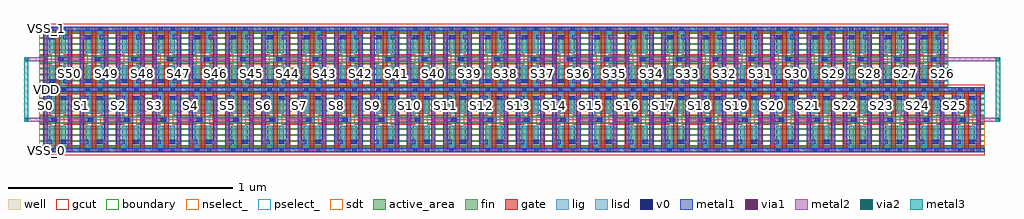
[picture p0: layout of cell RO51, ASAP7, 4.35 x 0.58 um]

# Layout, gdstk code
from math import pi, radians
import gdstk
lib = gdstk.Library(unit=1e-6, precision=2.5e-10)
def R(c, l, rs):  # rectangles x0, y0, x1, y1
    for r in rs: c.add(gdstk.rectangle(r[:2], r[2:], *l))
def A(c, l, x, y, w, h, nx, ny, dx, dy):  # array of equal rectangles
    R(c, l, [(x+i*dx, y+j*dy, x+i*dx+w, y+j*dy+h) for i in range(nx) for j in range(ny)])
def P(c, l, *ps):  # polygons
    for p in ps: c.add(gdstk.Polygon(p, *l))
well = (1, 0)
fin = (2, 0)
gate = (7, 0)
gcut = (10, 0)
active_area = (11, 0)
nselect_ = (12, 0)
pselect_ = (13, 0)
lig = (16, 0)
lisd = (17, 0)
v0 = (18, 0)
metal1 = (19, 0)
metal2 = (20, 0)
via1 = (21, 0)
via2 = (25, 0)
metal3 = (30, 0)
sdt = (88, 0)
boundary = (100, 0)

invx1_asap7_75t_r = lib.new_cell('INVx1_ASAP7_75t_R')
R(invx1_asap7_75t_r, well, [(0,0.135,0.162,0.27)])
A(invx1_asap7_75t_r, fin, 0, 0.01, 0.162, 0.007, 1, 10, 0, 0.027)
A(invx1_asap7_75t_r, gate, 0.017, -0.005, 0.02, 0.2805, 3, 1, 0.054, 0)
R(invx1_asap7_75t_r, gcut, [(0,-0.022,0.162,0.022), (0,0.113,0.054,0.157), (0.108,0.113,0.162,0.157), (0,0.248,0.162,0.292)])
R(invx1_asap7_75t_r, active_area, [(0.046,0.027,0.116,0.108), (0.046,0.162,0.116,0.243)])
R(invx1_asap7_75t_r, nselect_, [(0,0,0.162,0.135)])
R(invx1_asap7_75t_r, pselect_, [(0,0.135,0.162,0.27)])
R(invx1_asap7_75t_r, lig, [(0,-0.008,0.162,0.008), (0.054,0.124,0.093,0.146), (0,0.262,0.162,0.278)])
R(invx1_asap7_75t_r, lisd, [(0.042,0,0.066,0.108), (0.096,0.027,0.12,0.108), (0.042,0.162,0.066,0.27), (0.096,0.162,0.12,0.243)])
R(invx1_asap7_75t_r, v0, [(0.045,-0.009,0.063,0.009), (0.099,-0.009,0.117,0.009), (0.099,0.027,0.117,0.045), (0.055,0.126,0.073,0.144), (0.099,0.225,0.117,0.243), (0.045,0.261,0.063,0.279), (0.099,0.261,0.117,0.279)])
R(invx1_asap7_75t_r, metal1, [(0,-0.009,0.162,0.009), (0,0.261,0.162,0.279)])
P(invx1_asap7_75t_r, metal1, [(0.018,0.027),(0.018,0.243),(0.055,0.243),(0.055,0.225),(0.036,0.225),(0.036,0.144),(0.078,0.144),(0.078,0.126),(0.036,0.126),(0.036,0.045),(0.055,0.045),(0.055,0.027)],
  [(0.094,0.027),(0.094,0.045),(0.126,0.045),(0.126,0.225),(0.094,0.225),(0.094,0.243),(0.144,0.243),(0.144,0.027)])
R(invx1_asap7_75t_r, sdt, [(0.042,0.027,0.066,0.108), (0.096,0.027,0.12,0.108), (0.042,0.162,0.066,0.243), (0.096,0.162,0.12,0.243)])
R(invx1_asap7_75t_r, boundary, [(0,0,0.162,0.27)])

ro51 = lib.new_cell('RO51')
A(ro51, metal2, 0.126, 0.126, 0.072, 0.018, 25, 1, 0.162, 0)
A(ro51, metal2, 0.126, 0.396, 0.072, 0.018, 24, 1, 0.162, 0)
R(ro51, metal2, [(-0.069,0.126,0.036,0.144), (4.176,0.126,4.281,0.144), (-0.069,0.396,0.036,0.414), (4.014,0.396,4.281,0.414)])
R(ro51, via1, [(0.018,0.126,0.036,0.144), (0.126,0.126,0.144,0.144), (0.18,0.126,0.198,0.144), (0.288,0.126,0.306,0.144), (0.342,0.126,0.36,0.144), (0.45,0.126,0.468,0.144), (0.504,0.126,0.522,0.144), (0.612,0.126,0.63,0.144), (0.666,0.126,0.684,0.144), (0.774,0.126,0.792,0.144), (0.828,0.126,0.846,0.144), (0.936,0.126,0.954,0.144), (0.99,0.126,1.008,0.144), (1.098,0.126,1.116,0.144), (1.152,0.126,1.17,0.144), (1.26,0.126,1.278,0.144), (1.314,0.126,1.332,0.144), (1.422,0.126,1.44,0.144), (1.476,0.126,1.494,0.144), (1.584,0.126,1.602,0.144), (1.638,0.126,1.656,0.144), (1.746,0.126,1.764,0.144), (1.8,0.126,1.818,0.144), (1.908,0.126,1.926,0.144), (1.962,0.126,1.98,0.144), (2.07,0.126,2.088,0.144), (2.124,0.126,2.142,0.144), (2.232,0.126,2.25,0.144), (2.286,0.126,2.304,0.144), (2.394,0.126,2.412,0.144), (2.448,0.126,2.466,0.144), (2.556,0.126,2.574,0.144), (2.61,0.126,2.628,0.144), (2.718,0.126,2.736,0.144), (2.772,0.126,2.79,0.144), (2.88,0.126,2.898,0.144), (2.934,0.126,2.952,0.144), (3.042,0.126,3.06,0.144), (3.096,0.126,3.114,0.144), (3.204,0.126,3.222,0.144), (3.258,0.126,3.276,0.144), (3.366,0.126,3.384,0.144), (3.42,0.126,3.438,0.144), (3.528,0.126,3.546,0.144), (3.582,0.126,3.6,0.144), (3.69,0.126,3.708,0.144), (3.744,0.126,3.762,0.144), (3.852,0.126,3.87,0.144), (3.906,0.126,3.924,0.144), (4.014,0.126,4.032,0.144), (4.068,0.126,4.086,0.144), (4.176,0.126,4.194,0.144), (0.018,0.396,0.036,0.414), (0.126,0.396,0.144,0.414), (0.18,0.396,0.198,0.414), (0.288,0.396,0.306,0.414), (0.342,0.396,0.36,0.414), (0.45,0.396,0.468,0.414), (0.504,0.396,0.522,0.414), (0.612,0.396,0.63,0.414), (0.666,0.396,0.684,0.414), (0.774,0.396,0.792,0.414), (0.828,0.396,0.846,0.414), (0.936,0.396,0.954,0.414), (0.99,0.396,1.008,0.414), (1.098,0.396,1.116,0.414), (1.152,0.396,1.17,0.414), (1.26,0.396,1.278,0.414), (1.314,0.396,1.332,0.414), (1.422,0.396,1.44,0.414), (1.476,0.396,1.494,0.414), (1.584,0.396,1.602,0.414), (1.638,0.396,1.656,0.414), (1.746,0.396,1.764,0.414), (1.8,0.396,1.818,0.414), (1.908,0.396,1.926,0.414), (1.962,0.396,1.98,0.414), (2.07,0.396,2.088,0.414), (2.124,0.396,2.142,0.414), (2.232,0.396,2.25,0.414), (2.286,0.396,2.304,0.414), (2.394,0.396,2.412,0.414), (2.448,0.396,2.466,0.414), (2.556,0.396,2.574,0.414), (2.61,0.396,2.628,0.414), (2.718,0.396,2.736,0.414), (2.772,0.396,2.79,0.414), (2.88,0.396,2.898,0.414), (2.934,0.396,2.952,0.414), (3.042,0.396,3.06,0.414), (3.096,0.396,3.114,0.414), (3.204,0.396,3.222,0.414), (3.258,0.396,3.276,0.414), (3.366,0.396,3.384,0.414), (3.42,0.396,3.438,0.414), (3.528,0.396,3.546,0.414), (3.582,0.396,3.6,0.414), (3.69,0.396,3.708,0.414), (3.744,0.396,3.762,0.414), (3.852,0.396,3.87,0.414), (3.906,0.396,3.924,0.414), (4.014,0.396,4.032,0.414)])
R(ro51, via2, [(-0.069,0.126,-0.051,0.144), (4.263,0.126,4.281,0.144), (-0.069,0.396,-0.051,0.414), (4.263,0.396,4.281,0.414)])
R(ro51, metal3, [(-0.069,0.126,-0.051,0.414), (4.263,0.126,4.281,0.414)])
ro51.add(gdstk.Reference(invx1_asap7_75t_r, (0,0)))
ro51.add(gdstk.Reference(invx1_asap7_75t_r, (0.162,0)))
ro51.add(gdstk.Reference(invx1_asap7_75t_r, (0.324,0)))
ro51.add(gdstk.Reference(invx1_asap7_75t_r, (0.486,0)))
ro51.add(gdstk.Reference(invx1_asap7_75t_r, (0.648,0)))
ro51.add(gdstk.Reference(invx1_asap7_75t_r, (0.81,0)))
ro51.add(gdstk.Reference(invx1_asap7_75t_r, (0.972,0)))
ro51.add(gdstk.Reference(invx1_asap7_75t_r, (1.134,0)))
ro51.add(gdstk.Reference(invx1_asap7_75t_r, (1.296,0)))
ro51.add(gdstk.Reference(invx1_asap7_75t_r, (1.458,0)))
ro51.add(gdstk.Reference(invx1_asap7_75t_r, (1.62,0)))
ro51.add(gdstk.Reference(invx1_asap7_75t_r, (1.782,0)))
ro51.add(gdstk.Reference(invx1_asap7_75t_r, (1.944,0)))
ro51.add(gdstk.Reference(invx1_asap7_75t_r, (2.106,0)))
ro51.add(gdstk.Reference(invx1_asap7_75t_r, (2.268,0)))
ro51.add(gdstk.Reference(invx1_asap7_75t_r, (2.43,0)))
ro51.add(gdstk.Reference(invx1_asap7_75t_r, (2.592,0)))
ro51.add(gdstk.Reference(invx1_asap7_75t_r, (2.754,0)))
ro51.add(gdstk.Reference(invx1_asap7_75t_r, (2.916,0)))
ro51.add(gdstk.Reference(invx1_asap7_75t_r, (3.078,0)))
ro51.add(gdstk.Reference(invx1_asap7_75t_r, (3.24,0)))
ro51.add(gdstk.Reference(invx1_asap7_75t_r, (3.402,0)))
ro51.add(gdstk.Reference(invx1_asap7_75t_r, (3.564,0)))
ro51.add(gdstk.Reference(invx1_asap7_75t_r, (3.726,0)))
ro51.add(gdstk.Reference(invx1_asap7_75t_r, (3.888,0)))
ro51.add(gdstk.Reference(invx1_asap7_75t_r, (4.05,0)))
ro51.add(gdstk.Reference(invx1_asap7_75t_r, (0.162,0.54), rotation=pi))
ro51.add(gdstk.Reference(invx1_asap7_75t_r, (0.324,0.54), rotation=pi))
ro51.add(gdstk.Reference(invx1_asap7_75t_r, (0.486,0.54), rotation=pi))
ro51.add(gdstk.Reference(invx1_asap7_75t_r, (0.648,0.54), rotation=pi))
ro51.add(gdstk.Reference(invx1_asap7_75t_r, (0.81,0.54), rotation=pi))
ro51.add(gdstk.Reference(invx1_asap7_75t_r, (0.972,0.54), rotation=pi))
ro51.add(gdstk.Reference(invx1_asap7_75t_r, (1.134,0.54), rotation=pi))
ro51.add(gdstk.Reference(invx1_asap7_75t_r, (1.296,0.54), rotation=pi))
ro51.add(gdstk.Reference(invx1_asap7_75t_r, (1.458,0.54), rotation=pi))
ro51.add(gdstk.Reference(invx1_asap7_75t_r, (1.62,0.54), rotation=pi))
ro51.add(gdstk.Reference(invx1_asap7_75t_r, (1.782,0.54), rotation=pi))
ro51.add(gdstk.Reference(invx1_asap7_75t_r, (1.944,0.54), rotation=pi))
ro51.add(gdstk.Reference(invx1_asap7_75t_r, (2.106,0.54), rotation=pi))
ro51.add(gdstk.Reference(invx1_asap7_75t_r, (2.268,0.54), rotation=pi))
ro51.add(gdstk.Reference(invx1_asap7_75t_r, (2.43,0.54), rotation=pi))
ro51.add(gdstk.Reference(invx1_asap7_75t_r, (2.592,0.54), rotation=pi))
ro51.add(gdstk.Reference(invx1_asap7_75t_r, (2.754,0.54), rotation=pi))
ro51.add(gdstk.Reference(invx1_asap7_75t_r, (2.916,0.54), rotation=pi))
ro51.add(gdstk.Reference(invx1_asap7_75t_r, (3.078,0.54), rotation=pi))
ro51.add(gdstk.Reference(invx1_asap7_75t_r, (3.24,0.54), rotation=pi))
ro51.add(gdstk.Reference(invx1_asap7_75t_r, (3.402,0.54), rotation=pi))
ro51.add(gdstk.Reference(invx1_asap7_75t_r, (3.564,0.54), rotation=pi))
ro51.add(gdstk.Reference(invx1_asap7_75t_r, (3.726,0.54), rotation=pi))
ro51.add(gdstk.Reference(invx1_asap7_75t_r, (3.888,0.54), rotation=pi))
ro51.add(gdstk.Reference(invx1_asap7_75t_r, (4.05,0.54), rotation=pi))
ro51.add(gdstk.Label('S0', (0.027,0.2), layer=19, texttype=251))
ro51.add(gdstk.Label('S1', (0.189,0.2), layer=19, texttype=251))
ro51.add(gdstk.Label('S2', (0.351,0.2), layer=19, texttype=251))
ro51.add(gdstk.Label('S3', (0.513,0.2), layer=19, texttype=251))
ro51.add(gdstk.Label('S4', (0.675,0.2), layer=19, texttype=251))
ro51.add(gdstk.Label('S5', (0.837,0.2), layer=19, texttype=251))
ro51.add(gdstk.Label('S6', (0.999,0.2), layer=19, texttype=251))
ro51.add(gdstk.Label('S7', (1.161,0.2), layer=19, texttype=251))
ro51.add(gdstk.Label('S8', (1.323,0.2), layer=19, texttype=251))
ro51.add(gdstk.Label('S9', (1.485,0.2), layer=19, texttype=251))
ro51.add(gdstk.Label('S10', (1.647,0.2), layer=19, texttype=251))
ro51.add(gdstk.Label('S11', (1.809,0.2), layer=19, texttype=251))
ro51.add(gdstk.Label('S12', (1.971,0.2), layer=19, texttype=251))
ro51.add(gdstk.Label('S13', (2.133,0.2), layer=19, texttype=251))
ro51.add(gdstk.Label('S14', (2.295,0.2), layer=19, texttype=251))
ro51.add(gdstk.Label('S15', (2.457,0.2), layer=19, texttype=251))
ro51.add(gdstk.Label('S16', (2.619,0.2), layer=19, texttype=251))
ro51.add(gdstk.Label('S17', (2.781,0.2), layer=19, texttype=251))
ro51.add(gdstk.Label('S18', (2.943,0.2), layer=19, texttype=251))
ro51.add(gdstk.Label('S19', (3.105,0.2), layer=19, texttype=251))
ro51.add(gdstk.Label('S20', (3.267,0.2), layer=19, texttype=251))
ro51.add(gdstk.Label('S21', (3.429,0.2), layer=19, texttype=251))
ro51.add(gdstk.Label('S22', (3.591,0.2), layer=19, texttype=251))
ro51.add(gdstk.Label('S23', (3.753,0.2), layer=19, texttype=251))
ro51.add(gdstk.Label('S24', (3.915,0.2), layer=19, texttype=251))
ro51.add(gdstk.Label('S25', (4.077,0.2), layer=19, texttype=251))
ro51.add(gdstk.Label('S26', (4.023,0.34), layer=19, texttype=251))
ro51.add(gdstk.Label('S27', (3.861,0.34), layer=19, texttype=251))
ro51.add(gdstk.Label('S28', (3.699,0.34), layer=19, texttype=251))
ro51.add(gdstk.Label('S29', (3.537,0.34), layer=19, texttype=251))
ro51.add(gdstk.Label('S30', (3.375,0.34), layer=19, texttype=251))
ro51.add(gdstk.Label('S31', (3.213,0.34), layer=19, texttype=251))
ro51.add(gdstk.Label('S32', (3.051,0.34), layer=19, texttype=251))
ro51.add(gdstk.Label('S33', (2.889,0.34), layer=19, texttype=251))
ro51.add(gdstk.Label('S34', (2.727,0.34), layer=19, texttype=251))
ro51.add(gdstk.Label('S35', (2.565,0.34), layer=19, texttype=251))
ro51.add(gdstk.Label('S36', (2.403,0.34), layer=19, texttype=251))
ro51.add(gdstk.Label('S37', (2.241,0.34), layer=19, texttype=251))
ro51.add(gdstk.Label('S38', (2.079,0.34), layer=19, texttype=251))
ro51.add(gdstk.Label('S39', (1.917,0.34), layer=19, texttype=251))
ro51.add(gdstk.Label('S40', (1.755,0.34), layer=19, texttype=251))
ro51.add(gdstk.Label('S41', (1.593,0.34), layer=19, texttype=251))
ro51.add(gdstk.Label('S42', (1.431,0.34), layer=19, texttype=251))
ro51.add(gdstk.Label('S43', (1.269,0.34), layer=19, texttype=251))
ro51.add(gdstk.Label('S44', (1.107,0.34), layer=19, texttype=251))
ro51.add(gdstk.Label('S45', (0.945,0.34), layer=19, texttype=251))
ro51.add(gdstk.Label('S46', (0.783,0.34), layer=19, texttype=251))
ro51.add(gdstk.Label('S47', (0.621,0.34), layer=19, texttype=251))
ro51.add(gdstk.Label('S48', (0.459,0.34), layer=19, texttype=251))
ro51.add(gdstk.Label('S49', (0.297,0.34), layer=19, texttype=251))
ro51.add(gdstk.Label('S50', (0.135,0.34), layer=19, texttype=251))
ro51.add(gdstk.Label('VSS_0', (0.03,0), layer=19, texttype=251))
ro51.add(gdstk.Label('VDD', (0.03,0.27), layer=19, texttype=251))
ro51.add(gdstk.Label('VSS_1', (0.03,0.54), layer=19, texttype=251))

lib.write_gds('RO51.gds')
